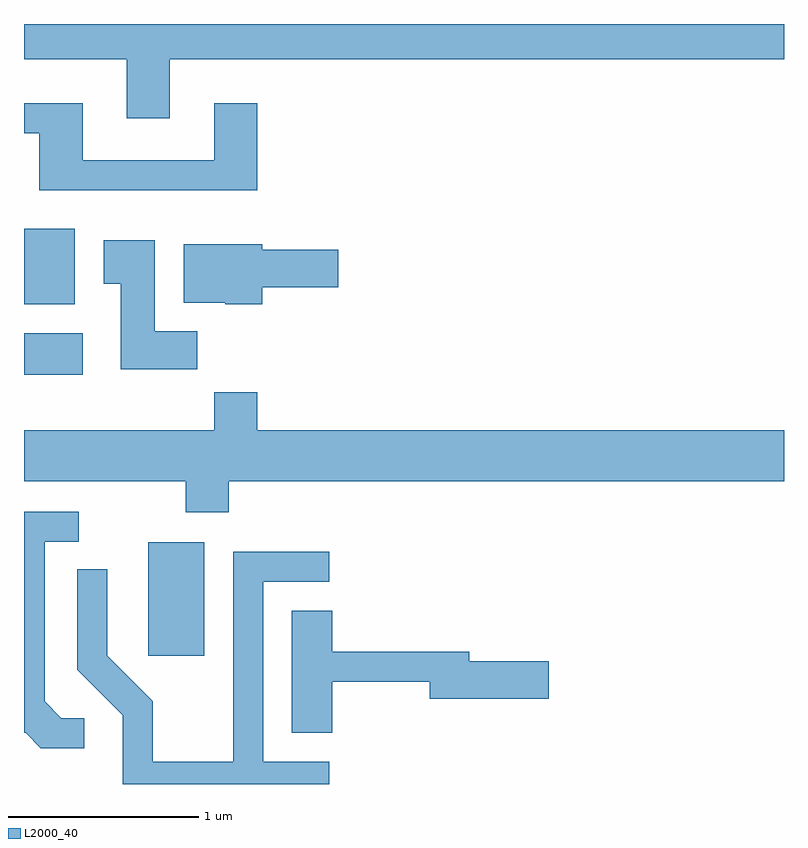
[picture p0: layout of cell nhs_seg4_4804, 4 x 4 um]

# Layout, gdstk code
import gdstk
lib = gdstk.Library(unit=1e-6, precision=1e-09)
def R(c, l, rs):  # rectangles x0, y0, x1, y1
    for r in rs: c.add(gdstk.rectangle(r[:2], r[2:], *l))
def P(c, l, *ps):  # polygons
    for p in ps: c.add(gdstk.Polygon(p, *l))
L2000_40 = (2000, 40)

nhs_seg4_4804 = lib.new_cell('nhs_seg4_4804')
R(nhs_seg4_4804, L2000_40, [(326.266,1342.656,326.559,1343.254), (325.611,1344.136,325.919,1344.354), (325.611,1344.506,325.879,1344.904)])
P(nhs_seg4_4804, L2000_40, [(326.379,1345.796),(329.611,1345.796),(329.611,1345.982),(325.611,1345.982),(325.611,1345.796),(326.151,1345.796),(326.151,1345.486),(326.379,1345.486)],
  [(326.839,1345.564),(326.611,1345.564),(326.611,1345.264),(325.919,1345.264),(325.919,1345.564),(325.611,1345.564),(325.611,1345.406),(325.691,1345.406),(325.691,1345.106),(326.839,1345.106)],
  [(326.524,1344.364),(326.299,1344.364),(326.299,1344.844),(326.031,1344.844),(326.031,1344.616),(326.121,1344.616),(326.121,1344.166),(326.524,1344.166)],
  [(326.864,1344.596),(327.264,1344.596),(327.264,1344.794),(326.864,1344.794),(326.864,1344.824),(326.451,1344.824),(326.451,1344.516),(326.67,1344.516),(326.67,1344.506),(326.864,1344.506)],
  [(326.689,1343.576),(329.611,1343.576),(329.611,1343.844),(326.839,1343.844),(326.839,1344.044),(326.611,1344.044),(326.611,1343.844),(325.611,1343.844),(325.611,1343.576),(326.461,1343.576),(326.461,1343.411),(326.689,1343.411)],
  [(325.928,1342.329),(325.807,1342.329),(325.719,1342.417),(325.719,1343.256),(325.898,1343.256),(325.898,1343.414),(325.611,1343.414),(325.611,1342.251),(325.619,1342.251),(325.699,1342.171),(325.928,1342.171)],
  [(327.218,1342.099),(326.869,1342.099),(326.869,1343.046),(327.218,1343.046),(327.218,1343.204),(326.711,1343.204),(326.711,1342.099),(326.289,1342.099),(326.289,1342.417),(326.049,1342.657),(326.049,1343.113),(325.891,1343.113),(325.891,1342.584),(326.131,1342.344),(326.131,1341.982),(327.218,1341.982)],
  [(327.234,1342.521),(327.746,1342.521),(327.746,1342.431),(328.374,1342.431),(328.374,1342.629),(327.954,1342.629),(327.954,1342.679),(327.234,1342.679),(327.234,1342.894),(327.021,1342.894),(327.021,1342.251),(327.234,1342.251)])

lib.write_gds('nhs_seg4_4804.gds')
